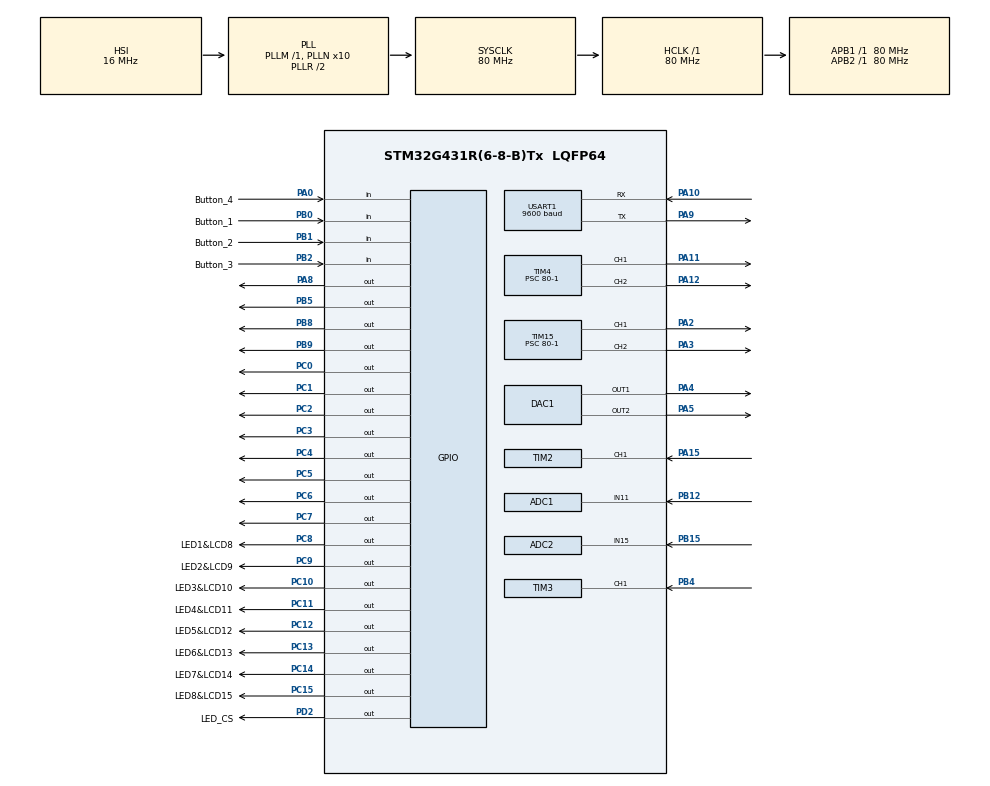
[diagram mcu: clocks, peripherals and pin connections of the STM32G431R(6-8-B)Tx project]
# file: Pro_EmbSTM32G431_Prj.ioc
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ADC1.Channel-0\#ChannelRegularConversion=ADC_CHANNEL_11
ADC1.ClockPrescaler=ADC_CLOCK_ASYNC_DIV8
ADC1.ContinuousConvMode=ENABLE
ADC1.DMAContinuousRequests=ENABLE
ADC1.EnableAnalogWatchDog1=false
ADC1.NbrOfConversion=1
ADC1.NbrOfConversionFlag=1
ADC1.OffsetNumber-0\#ChannelRegularConversion=ADC_OFFSET_NONE
ADC1.Rank-0\#ChannelRegularConversion=1
ADC1.SamplingTime-0\#ChannelRegularConversion=ADC_SAMPLETIME_2CYCLES_5
ADC1.master=1
ADC2.Channel-0\#ChannelRegularConversion=ADC_CHANNEL_15
ADC2.ClockPrescaler=ADC_CLOCK_ASYNC_DIV8
ADC2.ContinuousConvMode=ENABLE
ADC2.DMAContinuousRequests=ENABLE
ADC2.NbrOfConversionFlag=1
ADC2.OffsetNumber-0\#ChannelRegularConversion=ADC_OFFSET_NONE
ADC2.Rank-0\#ChannelRegularConversion=1
ADC2.SamplingTime-0\#ChannelRegularConversion=ADC_SAMPLETIME_2CYCLES_5
DAC1.DAC_Channel-DAC_OUT2=DAC_CHANNEL_2
DAC1.DAC_Trigger_OUT1-DAC_OUT1=DAC_TRIGGER_NONE
DAC1.DAC_Trigger_OUT2-DAC_OUT2=DAC_TRIGGER_T6_TRGO
DAC1.TriangleAmplitude_OUT2-DAC_OUT2=DAC_TRIANGLEAMPLITUDE_4095
DAC1.WaveGeneration_OUT2-DAC_OUT2=TriangleWaveGeneration
Dma.ADC1.0.Direction=DMA_PERIPH_TO_MEMORY
Dma.ADC1.0.EventEnable=DISABLE
Dma.ADC1.0.Instance=DMA1_Channel1
Dma.ADC1.0.MemDataAlignment=DMA_MDATAALIGN_WORD
Dma.ADC1.0.MemInc=DMA_MINC_ENABLE
Dma.ADC1.0.Mode=DMA_CIRCULAR
Dma.ADC1.0.PeriphDataAlignment=DMA_PDATAALIGN_WORD
Dma.ADC1.0.PeriphInc=DMA_PINC_DISABLE
Dma.ADC1.0.Polarity=HAL_DMAMUX_REQ_GEN_RISING
Dma.ADC1.0.Priority=DMA_PRIORITY_LOW
Dma.ADC1.0.RequestNumber=1
Dma.ADC1.0.SignalID=NONE
Dma.ADC1.0.SyncEnable=DISABLE
Dma.ADC1.0.SyncPolarity=HAL_DMAMUX_SYNC_NO_EVENT
Dma.ADC1.0.SyncRequestNumber=1
Dma.ADC1.0.SyncSignalID=NONE
Dma.ADC2.1.Direction=DMA_PERIPH_TO_MEMORY
Dma.ADC2.1.EventEnable=DISABLE
Dma.ADC2.1.Instance=DMA1_Channel2
Dma.ADC2.1.MemDataAlignment=DMA_MDATAALIGN_WORD
Dma.ADC2.1.MemInc=DMA_MINC_ENABLE
Dma.ADC2.1.Mode=DMA_CIRCULAR
Dma.ADC2.1.PeriphDataAlignment=DMA_PDATAALIGN_WORD
Dma.ADC2.1.PeriphInc=DMA_PINC_DISABLE
Dma.ADC2.1.Polarity=HAL_DMAMUX_REQ_GEN_RISING
Dma.ADC2.1.Priority=DMA_PRIORITY_LOW
Dma.ADC2.1.RequestNumber=1
Dma.ADC2.1.SignalID=NONE
Dma.ADC2.1.SyncEnable=DISABLE
Dma.ADC2.1.SyncPolarity=HAL_DMAMUX_SYNC_NO_EVENT
Dma.ADC2.1.SyncRequestNumber=1
Dma.ADC2.1.SyncSignalID=NONE
Dma.Request0=ADC1
Dma.Request1=ADC2
Mcu.Family=STM32G4
Mcu.Name=STM32G431R(6-8-B)Tx
Mcu.Package=LQFP64
NVIC.DMA1_Channel1_IRQn=true\:0\:0\:false\:false\:true\:false\:true\:true
NVIC.DMA1_Channel2_IRQn=true\:0\:0\:false\:false\:true\:false\:true\:true
NVIC.PriorityGroup=NVIC_PRIORITYGROUP_4
NVIC.TIM2_IRQn=true\:2\:0\:true\:false\:true\:true\:true\:true
NVIC.TIM3_IRQn=true\:2\:0\:true\:false\:true\:true\:true\:true
NVIC.TIM4_IRQn=true\:2\:0\:true\:false\:true\:true\:true\:true
NVIC.TIM6_DAC_IRQn=true\:3\:0\:true\:false\:true\:true\:true\:true
NVIC.USART1_IRQn=true\:4\:0\:true\:false\:true\:true\:true\:true
PA0.GPIO_Label=Button_4
PA0.GPIO_PuPd=GPIO_PULLUP
PA0.Signal=GPIO_Input
PA10.Mode=Asynchronous
PA10.Signal=USART1_RX
PA11.Signal=S_TIM4_CH1
PA12.Signal=S_TIM4_CH2
PA15.Signal=S_TIM2_CH1
PA2.Signal=S_TIM15_CH1
PA3.Signal=S_TIM15_CH2
PA4.Signal=COMP_DAC11_group
PA5.Signal=COMP_DAC12_group
PA8.Signal=GPIO_Output
PA9.Mode=Asynchronous
PA9.Signal=USART1_TX
PB0.GPIO_Label=Button_1
PB0.GPIO_PuPd=GPIO_PULLUP
PB0.Signal=GPIO_Input
PB1.GPIO_Label=Button_2
PB1.GPIO_PuPd=GPIO_PULLUP
PB1.Signal=GPIO_Input
PB12.Mode=IN11-Single-Ended
PB12.Signal=ADC1_IN11
PB15.Mode=IN15-Single-Ended
PB15.Signal=ADC2_IN15
PB2.GPIO_Label=Button_3
PB2.GPIO_PuPd=GPIO_PULLUP
PB2.Signal=GPIO_Input
PB4.Signal=S_TIM3_CH1
PB5.Signal=GPIO_Output
PB8-BOOT0.Signal=GPIO_Output
PB9.Signal=GPIO_Output
PC0.Signal=GPIO_Output
PC1.Signal=GPIO_Output
PC10.GPIO_Label=LED3&LCD10
PC10.GPIO_PuPd=GPIO_PULLUP
PC10.PinState=GPIO_PIN_SET
PC10.Signal=GPIO_Output
PC11.GPIO_Label=LED4&LCD11
PC11.GPIO_PuPd=GPIO_PULLUP
PC11.PinState=GPIO_PIN_SET
PC11.Signal=GPIO_Output
PC12.GPIO_Label=LED5&LCD12
PC12.GPIO_PuPd=GPIO_PULLUP
PC12.PinState=GPIO_PIN_SET
PC12.Signal=GPIO_Output
PC13.GPIO_Label=LED6&LCD13
PC13.GPIO_PuPd=GPIO_PULLUP
PC13.PinState=GPIO_PIN_SET
PC13.Signal=GPIO_Output
PC14-OSC32_IN.GPIO_Label=LED7&LCD14
PC14-OSC32_IN.GPIO_PuPd=GPIO_PULLUP
PC14-OSC32_IN.PinState=GPIO_PIN_SET
PC14-OSC32_IN.Signal=GPIO_Output
PC15-OSC32_OUT.GPIO_Label=LED8&LCD15
PC15-OSC32_OUT.GPIO_PuPd=GPIO_PULLUP
PC15-OSC32_OUT.PinState=GPIO_PIN_SET
PC15-OSC32_OUT.Signal=GPIO_Output
PC2.Signal=GPIO_Output
PC3.Signal=GPIO_Output
PC4.Signal=GPIO_Output
PC5.Signal=GPIO_Output
PC6.Signal=GPIO_Output
PC7.Signal=GPIO_Output
PC8.GPIO_Label=LED1&LCD8
PC8.GPIO_PuPd=GPIO_PULLUP
PC8.PinState=GPIO_PIN_SET
PC8.Signal=GPIO_Output
PC9.GPIO_Label=LED2&LCD9
PC9.GPIO_PuPd=GPIO_PULLUP
PC9.PinState=GPIO_PIN_SET
PC9.Signal=GPIO_Output
PD2.GPIO_Label=LED_CS
PD2.GPIO_PuPd=GPIO_PULLUP
PD2.PinState=GPIO_PIN_SET
PD2.Signal=GPIO_Output
PF0-OSC_IN.Mode=HSE-External-Oscillator
PF0-OSC_IN.Signal=RCC_OSC_IN
PF1-OSC_OUT.Mode=HSE-External-Oscillator
PF1-OSC_OUT.Signal=RCC_OSC_OUT
ProjectManager.HeapSize=0x200
ProjectManager.StackSize=0x400
ProjectManager.TargetToolchain=MDK-ARM V5.32
RCC.ADC12Freq_Value=80000000
RCC.AHBFreq_Value=80000000
RCC.APB1Freq_Value=80000000
RCC.APB1TimFreq_Value=80000000
RCC.APB2Freq_Value=80000000
RCC.APB2TimFreq_Value=80000000
RCC.CortexFreq_Value=80000000
RCC.EXTERNAL_CLOCK_VALUE=12288000
RCC.HCLKFreq_Value=80000000
RCC.HSE_VALUE=24000000
RCC.HSI48_VALUE=48000000
RCC.HSI_VALUE=16000000
RCC.LSE_VALUE=32768
RCC.PLLN=10
RCC.SYSCLKFreq_VALUE=80000000
RCC.SYSCLKSource=RCC_SYSCLKSOURCE_PLLCLK
RCC.USBFreq_Value=80000000
RCC.VCOOutputFreq_Value=160000000
SH.COMP_DAC11_group.0=DAC1_OUT1,DAC_OUT1
SH.COMP_DAC12_group.0=DAC1_OUT2,DAC_OUT2
SH.S_TIM15_CH1.0=TIM15_CH1,PWM Generation1 CH1
SH.S_TIM15_CH2.0=TIM15_CH2,PWM Generation2 CH2
SH.S_TIM2_CH1.0=TIM2_CH1,TriggerSource_TI1FP1
SH.S_TIM2_CH1.1=TIM2_CH1,Input_Capture1_from_TI1
SH.S_TIM3_CH1.0=TIM3_CH1,Input_Capture1_from_TI1
SH.S_TIM3_CH1.1=TIM3_CH1,TriggerSource_TI1FP1
SH.S_TIM4_CH1.0=TIM4_CH1,Output Compare1 CH1
SH.S_TIM4_CH2.0=TIM4_CH2,Output Compare2 CH2
TIM15.AutoReloadPreload=TIM_AUTORELOAD_PRELOAD_ENABLE
TIM15.Channel-PWM\ Generation1\ CH1=TIM_CHANNEL_1
TIM15.Channel-PWM\ Generation2\ CH2=TIM_CHANNEL_2
TIM15.PeriodNoDither=1000-1
TIM15.Prescaler=80-1
TIM15.PulseNoDither_1=200
TIM15.PulseNoDither_2=700
TIM2.Channel-Input_Capture1_from_TI1=TIM_CHANNEL_1
TIM2.Channel-Input_Capture2_from_TI1_63=TIM_CHANNEL_2
TIM2.ICPolarity_CH2=TIM_INPUTCHANNELPOLARITY_FALLING
TIM2.PeriodNoDither=65535
TIM2.Prescaler=80-1
TIM3.Channel-Input_Capture1_from_TI1=TIM_CHANNEL_1
TIM3.Channel-Input_Capture2_from_TI1_63=TIM_CHANNEL_2
TIM3.ICPolarity_CH2=TIM_INPUTCHANNELPOLARITY_FALLING
TIM3.Prescaler=80-1
TIM4.Channel-Output\ Compare1\ CH1=TIM_CHANNEL_1
TIM4.Channel-Output\ Compare2\ CH2=TIM_CHANNEL_2
TIM4.OCMode_1=TIM_OCMODE_TOGGLE
TIM4.OCMode_2=TIM_OCMODE_TOGGLE
TIM4.Prescaler=80-1
TIM6.AutoReloadPreload=TIM_AUTORELOAD_PRELOAD_DISABLE
TIM6.PeriodNoDither=1000-1
TIM6.Prescaler=80-1
TIM6.TIM_MasterOutputTrigger=TIM_TRGO_UPDATE
USART1.BaudRate=9600
USART1.VirtualMode-Asynchronous=VM_ASYNC
VP_SYS_VS_DBSignals.Mode=DisableDeadBatterySignals
VP_TIM15_VS_ClockSourceINT.Mode=Internal
VP_TIM2_VS_ClockSourceINT.Mode=Internal
VP_TIM2_VS_ControllerModeReset.Mode=Reset Mode
VP_TIM2_VS_indirect_ch1.Mode=Input_Capture2_from_TI1_63
VP_TIM3_VS_ClockSourceINT.Mode=Internal
VP_TIM3_VS_ControllerModeReset.Mode=Reset Mode
VP_TIM3_VS_indirect_ch1.Mode=Input_Capture2_from_TI1_63
VP_TIM4_VS_ClockSourceINT.Mode=Internal
VP_TIM6_VS_ClockSourceINT.Mode=Enable_Timer
board=custom

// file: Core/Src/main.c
/* USER CODE BEGIN Header */
/*******************************************************************************
* 作    者：hufq
* 注意事项：
* 进度日志：
* 20220920: 1、完成LED功能演示，后更改点灯方式；
* 20220921: 1、完成LCD功能演示
* 20220922: 1、完成button功能演示
* 20220926: 1、完成B4的外部中断功能演示
            （1）使用按键演示外部中断，会有抖动问题；
            （2）经测试不影响正常按键扫描（即使包含了B4的按键扫描）
* 20220928: 1、完成串口功能：串口接收用中断，发送用查询；（未用DMA方式）
* 20220929: 1、完成IIC功能：包括24C02和MCP4017，其中IIC时序驱动拷贝资源包，两个芯片的驱动需要参考芯片资料自行撰写；
* 20221004: 1、完成内置AD功能，俩通道(分别是AD1和AD2)使用DMA方式传输；
* 20221005: 1、完成基本定时器TIM6的功能，100ms中断一次；
* 20221007: 1、完成高级定时器TIM2，TIM3的捕获功能，测量TIM2_CH1(PA15)和TIM3_CH1(PB4)外部输入脉冲的频率和占空比；
* 20221008: 1、完成高级定时器TIM4的比较模式，输出多路不同周期和占空的脉冲；
            2、完成高级定时器TIM15的PWM模式，输出多路同周期和不同占空的脉冲；
* 20221010: 1、完成DA功能；DAC_CH1_PA4输出指定电压，DAC_CH2_PA5自动输出三角波
* 20230407: 1、改善了按键的处理，按键扫描用连续方式，在按键处理函数中可以区分按下（第一次检测），短按，长按，松开这几种状态
            2、后改为V30版本
* 版本V31 : 在V30版本基础上修改
            1、增加及修改部分函数的文字说明
            2、取消B4的外部中断，B4作为普通按键使用
            3、暂时屏蔽了TIM3的捕获测量频率，因为TIM2和TIM3同时进行捕获测频，如果R38、R39旋钮到最左
               即被测信号频率最大时（33K左右），程序会连续不断进入中断，导致程序无法正常执行；

*******************************************************************************/
/* USER CODE END Header */
#include "main.h"
#include "adc.h"
#include "dac.h"
#include "dma.h"
#include "tim.h"
#include "usart.h"
#include "gpio.h"

/* USER CODE BEGIN Includes */
#include "string.h"
#include "stdio.h"
#include "Bsp_Test.h"
#include "Bsp_LED.h"
#include "Bsp_Button.h"
#include "lcd.h"
#include "Bsp_Usart.h"
#include "i2c - hal.h"
#include "Bsp_AD.h"
#include "Bsp_DAC.h"
/* USER CODE END Includes */

void SystemClock_Config(void);

int main(void)
{

  /* MCU Configuration--------------------------------------------------------*/

  /* Reset of all peripherals, Initializes the Flash interface and the Systick. */
  HAL_Init();

  /* Configure the system clock */
  SystemClock_Config();

  /* Initialize all configured peripherals */
  MX_GPIO_Init();
  MX_DMA_Init();
  MX_USART1_UART_Init();
  MX_ADC1_Init();
  MX_ADC2_Init();
  MX_TIM6_Init();
  MX_TIM2_Init();
  MX_TIM3_Init();
  MX_TIM4_Init();
  MX_TIM15_Init();
  MX_DAC1_Init();
  /* USER CODE BEGIN 2 */
    LED_Control(LED_State);
    LCD_Init();
    LCD_TestTask();
//    BSP_LED_TestTask();
    //测试串口
    sprintf((char *)Uart1_Tx_Buf, " hello world!20240109r\n");  //注意需要头文件："stdio.h"
    Uart1_Send(Uart1_Tx_Buf,strlen((char *)Uart1_Tx_Buf));

    I2CInit();
    IIC_Test_24C02();
    IIC_Test_MCP4017();

    Bsp_AD_Init();

    /**********基本定时器TIM6************/
    HAL_TIM_Base_Start_IT(&htim6);  //使能定时器6和定时器6更新中断：TIM_IT_UPDATE

    /**********定时器捕获模式TIM2和TIM3************/
    HAL_TIM_IC_Start_IT(&htim2,TIM_CHANNEL_1);
    HAL_TIM_IC_Start_IT(&htim2,TIM_CHANNEL_2);
    HAL_TIM_Base_Start(&htim2);//定时器2启动 ，使用HAL_TIM_Base_Start_IT函数效果相同（但是该函数使能了TIM_IT_UPDATE，即更新中断）

//    HAL_TIM_IC_Start_IT(&htim3,TIM_CHANNEL_1);
//    HAL_TIM_IC_Start_IT(&htim3,TIM_CHANNEL_2);
//    HAL_TIM_Base_Start(&htim3);//定时器3启动 ，使用HAL_TIM_Base_Start_IT函数效果相同（但是该函数使能了TIM_IT_UPDATE，即更新中断）

    /**********定时器比较模式TIM4************/
    HAL_TIM_OC_Start_IT(&htim4, TIM_CHANNEL_1); //定时器4比较输出
	HAL_TIM_OC_Start_IT(&htim4, TIM_CHANNEL_2); //定时器4比较输出

    /**********定时器PWM模式TIM15************/
    HAL_TIM_PWM_Start(&htim15,TIM_CHANNEL_1);   //定时器15的PWN_CH1输出
    HAL_TIM_PWM_Start(&htim15,TIM_CHANNEL_2);   //定时器15的PWN_CH2输出

    /**********DAC1_CH1_PA4输出模拟电压************/
    HAL_DAC_Start(&hdac1, DAC_CHANNEL_1);
    HAL_DAC_Start(&hdac1, DAC_CHANNEL_2);
    DAC1_CH1_Set_Vol(DAC1_CH1_Vol);
    DA_Display_Test();
  /* USER CODE END 2 */

  /* Infinite loop */
    while (1)
    {

    /* USER CODE BEGIN 3 */
//        BSP_LED_TestTask();
        KeyProcess();       //按键处理
        Uart1_RX_Pro();
        AD_Test();
        PulseMeasure_Test();
    }
  /* USER CODE END 3 */
}

void SystemClock_Config(void)
{
  RCC_OscInitTypeDef RCC_OscInitStruct = {0};
  RCC_ClkInitTypeDef RCC_ClkInitStruct = {0};

  /** Configure the main internal regulator output voltage
  */
  HAL_PWREx_ControlVoltageScaling(PWR_REGULATOR_VOLTAGE_SCALE1);

  /** Initializes the RCC Oscillators according to the specified parameters
  * in the RCC_OscInitTypeDef structure.
  */
  RCC_OscInitStruct.OscillatorType = RCC_OSCILLATORTYPE_HSI;
  RCC_OscInitStruct.HSIState = RCC_HSI_ON;
  RCC_OscInitStruct.HSICalibrationValue = RCC_HSICALIBRATION_DEFAULT;
  RCC_OscInitStruct.PLL.PLLState = RCC_PLL_ON;
  RCC_OscInitStruct.PLL.PLLSource = RCC_PLLSOURCE_HSI;
  RCC_OscInitStruct.PLL.PLLM = RCC_PLLM_DIV1;
  RCC_OscInitStruct.PLL.PLLN = 10;
  RCC_OscInitStruct.PLL.PLLP = RCC_PLLP_DIV2;
  RCC_OscInitStruct.PLL.PLLQ = RCC_PLLQ_DIV2;
  RCC_OscInitStruct.PLL.PLLR = RCC_PLLR_DIV2;
  if (HAL_RCC_OscConfig(&RCC_OscInitStruct) != HAL_OK)
  {
    Error_Handler();
  }

  /** Initializes the CPU, AHB and APB buses clocks
  */
  RCC_ClkInitStruct.ClockType = RCC_CLOCKTYPE_HCLK|RCC_CLOCKTYPE_SYSCLK
                              |RCC_CLOCKTYPE_PCLK1|RCC_CLOCKTYPE_PCLK2;
  RCC_ClkInitStruct.SYSCLKSource = RCC_SYSCLKSOURCE_PLLCLK;
  RCC_ClkInitStruct.AHBCLKDivider = RCC_SYSCLK_DIV1;
  RCC_ClkInitStruct.APB1CLKDivider = RCC_HCLK_DIV1;
  RCC_ClkInitStruct.APB2CLKDivider = RCC_HCLK_DIV1;

  if (HAL_RCC_ClockConfig(&RCC_ClkInitStruct, FLASH_LATENCY_2) != HAL_OK)
  {
    Error_Handler();
  }
}

void Error_Handler(void)
{
    __disable_irq();
    while (1)
    {
    }
}
